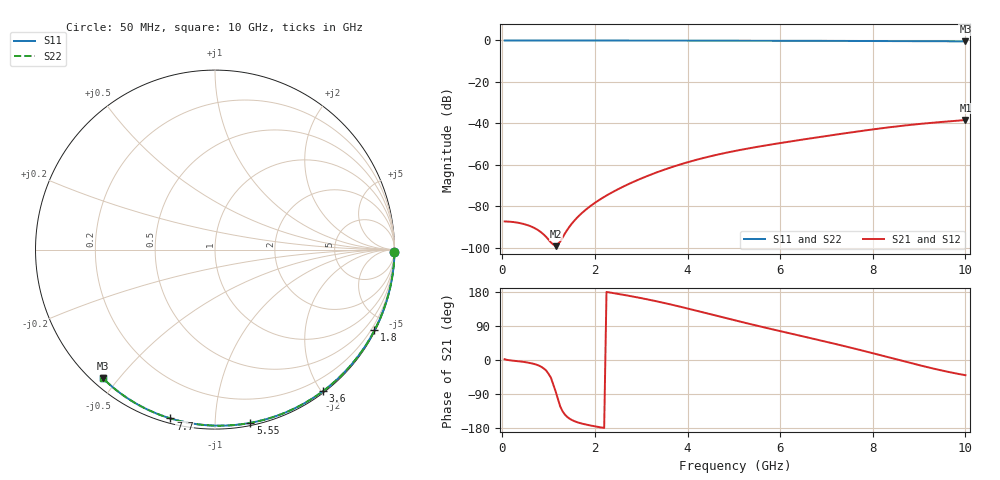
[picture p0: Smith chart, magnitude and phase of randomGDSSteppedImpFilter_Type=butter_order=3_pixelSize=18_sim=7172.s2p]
! freq	dB(S11)	phase(S11)	dB(S12)	phase(S12)
!  dB(S21)	phase(S21)	dB(S22)	phase(S22)
!S-par simulation data
#  GHz  S  DB  R 50
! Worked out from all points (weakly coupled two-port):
!   200 points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, 50 MHz to 10 GHz, reference 50 ohm
!   highest |S21| = -38.39 dB at 10 GHz (marker M1); lowest = -99.2 dB at 1.15 GHz (marker M2)
!   lowest |S11| = -0.4 dB at 10 GHz (marker M3), VSWR 39.34, Z = 1.53 - j22.7 ohm
!   |S11| at or under -10 dB: nowhere
!   |S22| runs from -0.4 to 0.0 dB; largest |S21 - S12| = 0
!   S11 on the Smith chart (normalised r, x): 50 MHz: open; 1.8 GHz: 0.04, -4.19; 3.6 GHz: 0.02, -2.03; 5.55 GHz: 0.02, -1.22; 7.7 GHz: 0.02, -0.77; 10 GHz: 0.03, -0.45
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0.05  -0.00 -0.8  -87.31 2.1  -87.31 2.1  -0.00 -0.8
0.6  -0.01 -9.1  -89.54 -7.9  -89.54 -7.9  -0.01 -9.1
1.15  -0.02 -17.3  -99.24 -82.3  -99.24 -82.3  -0.02 -17.3
1.75  -0.03 -26.1  -82.63 -168.8  -82.63 -168.8  -0.03 -26.1
1.8  -0.03 -26.9  -81.68 -170.2  -81.68 -170.2  -0.03 -26.9
1.9  -0.04 -28.3  -79.94 -172.8  -79.94 -172.8  -0.04 -28.3
2.15  -0.04 -32.0  -76.14 -178.3  -76.14 -178.3  -0.04 -32.0
2.35  -0.05 -34.9  -73.53 177.6  -73.53 177.6  -0.05 -34.9
2.55  -0.05 -37.7  -71.18 173.4  -71.18 173.4  -0.05 -37.7
2.95  -0.06 -43.4  -67.06 164.5  -67.06 164.5  -0.06 -43.4
3.4  -0.07 -49.8  -63.10 153.1  -63.10 153.1  -0.07 -49.8
3.6  -0.07 -52.5  -61.55 147.6  -61.55 147.6  -0.07 -52.5
3.95  -0.08 -57.3  -59.09 137.5  -59.09 137.5  -0.08 -57.3
4.3  -0.09 -62.1  -56.94 126.8  -56.94 126.8  -0.09 -62.1
5.05  -0.11 -72.0  -53.19 103.9  -53.19 103.9  -0.11 -72.0
5.55  -0.13 -78.5  -51.15 89.1  -51.15 89.1  -0.13 -78.5
6.1  -0.15 -85.4  -49.14 73.4  -49.14 73.4  -0.15 -85.4
6.7  -0.18 -92.8  -47.08 56.5  -47.08 56.5  -0.18 -92.8
7.7  -0.24 -104.8  -43.82 27.2  -43.82 27.2  -0.24 -104.8
8.35  -0.29 -112.4  -41.91 6.9  -41.91 6.9  -0.29 -112.4
9.1  -0.35 -121.0  -40.09 -16.5  -40.09 -16.5  -0.35 -121.0
10  -0.44 -131.1  -38.39 -40.1  -38.39 -40.1  -0.44 -131.1
